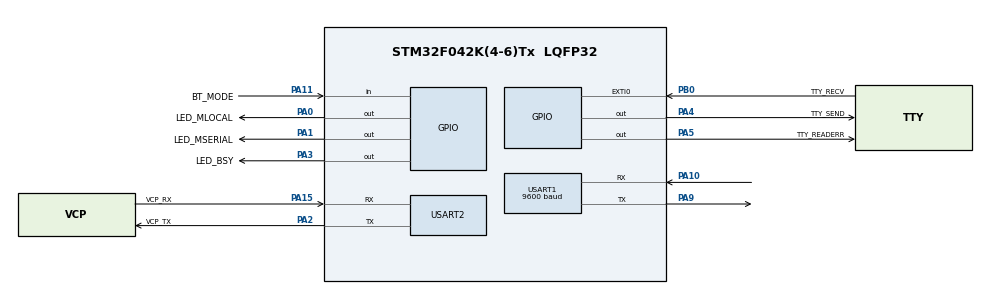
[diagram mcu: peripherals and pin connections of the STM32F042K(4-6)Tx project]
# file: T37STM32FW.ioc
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Mcu.Family=STM32F0
Mcu.Name=STM32F042K(4-6)Tx
Mcu.Package=LQFP32
NVIC.EXTI0_1_IRQn=true\:0\:0\:false\:false\:true\:true\:true\:true
NVIC.USART2_IRQn=true\:0\:0\:false\:false\:true\:true\:true\:true
PA0.GPIO_Label=LED_MLOCAL
PA0.Signal=GPIO_Output
PA1.GPIO_Label=LED_MSERIAL
PA1.Signal=GPIO_Output
PA10.Mode=Asynchronous
PA10.Signal=USART1_RX
PA11.GPIO_Label=BT_MODE
PA11.Signal=GPIO_Input
PA13.GPIO_Label=SWDIO
PA13.Mode=Serial_Wire
PA13.Signal=SYS_SWDIO
PA14.GPIO_Label=SWCLK
PA14.Mode=Serial_Wire
PA14.Signal=SYS_SWCLK
PA15.GPIO_Label=VCP_RX
PA15.Mode=Asynchronous
PA15.Signal=USART2_RX
PA2.GPIO_Label=VCP_TX
PA2.Mode=Asynchronous
PA2.Signal=USART2_TX
PA3.GPIO_Label=LED_BSY
PA3.Signal=GPIO_Output
PA4.GPIO_Label=TTY_SEND
PA4.GPIO_ModeDefaultOutputPP=GPIO_MODE_OUTPUT_PP
PA4.GPIO_PuPd=GPIO_NOPULL
PA4.GPIO_Speed=GPIO_SPEED_FREQ_HIGH
PA4.PinState=GPIO_PIN_RESET
PA4.Signal=GPIO_Output
PA5.GPIO_Label=TTY_READERR
PA5.Signal=GPIO_Output
PA9.Mode=Asynchronous
PA9.Signal=USART1_TX
PB0.GPIO_Label=TTY_RECV
PB0.GPIO_ModeDefaultEXTI=GPIO_MODE_IT_FALLING
PB0.GPIO_PuPd=GPIO_PULLUP
PB0.Signal=GPXTI0
PF0-OSC_IN.GPIO_Label=MCO
PF0-OSC_IN.Mode=HSE-External-Clock-Source
PF0-OSC_IN.Signal=RCC_OSC_IN
ProjectManager.HeapSize=0x200
ProjectManager.StackSize=0x400
ProjectManager.TargetToolchain=STM32CubeIDE
USART1.BaudRate=9600
USART1.Parity=PARITY_EVEN
USART1.VirtualMode-Asynchronous=VM_ASYNC
USART2.VirtualMode-Asynchronous=VM_ASYNC
board=NUCLEO-F042K6

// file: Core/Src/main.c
/* USER CODE BEGIN Header */
/**
  ******************************************************************************
  * @file           : main.c
  * @brief          : Main program body
  ******************************************************************************
  * @attention
  *
  * Copyright (c) 2025 STMicroelectronics.
  * All rights reserved.
  *
  * This software is licensed under terms that can be found in the LICENSE file
  * in the root directory of this software component.
  * If no LICENSE file comes with this software, it is provided AS-IS.
  *
  ******************************************************************************
  */
/* USER CODE END Header */
#include "main.h"

/* USER CODE BEGIN Includes */
#include "tty.h"
#include "writeBuffer.h"
#include "string.h"
#include <stdio.h>
#include <stdlib.h>

#include "symbolbuffer.h"	// TODO: Remove THIS, all comms through tty.c
/* USER CODE END Includes */

UART_HandleTypeDef huart1;
UART_HandleTypeDef huart2;

/* USER CODE BEGIN PV */
unsigned char UART2_Buffer[1];
HAL_StatusTypeDef lastStatus;
unsigned char rdyMSG[] = "rdy";
/* USER CODE END PV */

void SystemClock_Config(void);
static void MX_GPIO_Init(void);
static void MX_USART2_UART_Init(void);
static void MX_USART1_UART_Init(void);

/* USER CODE BEGIN 0 */
// ---I/O SECTION---------------------------------------------------
void setLED_MLOCAL(int state){	// LED @ A0
	if (state != 0) {
		HAL_GPIO_WritePin(GPIOA, GPIO_PIN_0, GPIO_PIN_SET);
	}
	else {
		HAL_GPIO_WritePin(GPIOA, GPIO_PIN_0, GPIO_PIN_RESET);
	}
}

void setLED_MSERIAL(int state){ // LED @ A1
	if (state != 0) {
		HAL_GPIO_WritePin(GPIOA, GPIO_PIN_1, GPIO_PIN_SET);
	}
	else {
		HAL_GPIO_WritePin(GPIOA, GPIO_PIN_1, GPIO_PIN_RESET);
	}
}

void setLED_BSY(int state){		// LED @ A2
	if (state != 0) {
		HAL_GPIO_WritePin(GPIOA, GPIO_PIN_3, GPIO_PIN_SET);
	}
	else {
		HAL_GPIO_WritePin(GPIOA, GPIO_PIN_3, GPIO_PIN_RESET);
	}
}
/* USER CODE END 0 */

int main(void)
{

  /* MCU Configuration--------------------------------------------------------*/

  /* Reset of all peripherals, Initializes the Flash interface and the Systick. */
  HAL_Init();

  /* Configure the system clock */
  SystemClock_Config();

  /* Initialize all configured peripherals */
  MX_GPIO_Init();
  MX_USART2_UART_Init();
  MX_USART1_UART_Init();
  /* USER CODE BEGIN 2 */
  HAL_UART_Receive_IT(&huart2, UART2_Buffer, 1);
  TTY_Init();
  HAL_UART_Transmit(&huart2, rdyMSG, 3, 20);
  setLoopback(1);
  /* USER CODE END 2 */

  /* Infinite loop */
  while (1)
  {

    /* USER CODE BEGIN 3 */
	if (lastStatus != HAL_TIMEOUT){
		if (UART2_Buffer[0] != '\0'){
			TTY_WriteKey(UART2_Buffer[0]);
			UART2_Buffer[0] = '\0';
		}
	}
	HAL_Delay(1);

	//char* test_string = "===ABCDEFGHIJKLMNOPQRSTUVWXYZ\r\n"
	//		"()+,-./0123456789=A1B2C3D4E5F6:===";
  }
  /* USER CODE END 3 */
}

void SystemClock_Config(void)
{
  RCC_OscInitTypeDef RCC_OscInitStruct = {0};
  RCC_ClkInitTypeDef RCC_ClkInitStruct = {0};
  RCC_PeriphCLKInitTypeDef PeriphClkInit = {0};

  /** Initializes the RCC Oscillators according to the specified parameters
  * in the RCC_OscInitTypeDef structure.
  */
  RCC_OscInitStruct.OscillatorType = RCC_OSCILLATORTYPE_HSI;
  RCC_OscInitStruct.HSIState = RCC_HSI_ON;
  RCC_OscInitStruct.HSICalibrationValue = RCC_HSICALIBRATION_DEFAULT;
  RCC_OscInitStruct.PLL.PLLState = RCC_PLL_NONE;
  if (HAL_RCC_OscConfig(&RCC_OscInitStruct) != HAL_OK)
  {
    Error_Handler();
  }

  /** Initializes the CPU, AHB and APB buses clocks
  */
  RCC_ClkInitStruct.ClockType = RCC_CLOCKTYPE_HCLK|RCC_CLOCKTYPE_SYSCLK
                              |RCC_CLOCKTYPE_PCLK1;
  RCC_ClkInitStruct.SYSCLKSource = RCC_SYSCLKSOURCE_HSI;
  RCC_ClkInitStruct.AHBCLKDivider = RCC_SYSCLK_DIV1;
  RCC_ClkInitStruct.APB1CLKDivider = RCC_HCLK_DIV1;

  if (HAL_RCC_ClockConfig(&RCC_ClkInitStruct, FLASH_LATENCY_0) != HAL_OK)
  {
    Error_Handler();
  }
  PeriphClkInit.PeriphClockSelection = RCC_PERIPHCLK_USART1;
  PeriphClkInit.Usart1ClockSelection = RCC_USART1CLKSOURCE_PCLK1;
  if (HAL_RCCEx_PeriphCLKConfig(&PeriphClkInit) != HAL_OK)
  {
    Error_Handler();
  }
}

static void MX_USART1_UART_Init(void)
{

  huart1.Instance = USART1;
  huart1.Init.BaudRate = 9600;
  huart1.Init.WordLength = UART_WORDLENGTH_8B;
  huart1.Init.StopBits = UART_STOPBITS_1;
  huart1.Init.Parity = UART_PARITY_EVEN;
  huart1.Init.Mode = UART_MODE_TX_RX;
  huart1.Init.HwFlowCtl = UART_HWCONTROL_NONE;
  huart1.Init.OverSampling = UART_OVERSAMPLING_16;
  huart1.Init.OneBitSampling = UART_ONE_BIT_SAMPLE_DISABLE;
  huart1.AdvancedInit.AdvFeatureInit = UART_ADVFEATURE_NO_INIT;
  if (HAL_UART_Init(&huart1) != HAL_OK)
  {
    Error_Handler();
  }

}

static void MX_USART2_UART_Init(void)
{

  huart2.Instance = USART2;
  huart2.Init.BaudRate = 38400;
  huart2.Init.WordLength = UART_WORDLENGTH_8B;
  huart2.Init.StopBits = UART_STOPBITS_1;
  huart2.Init.Parity = UART_PARITY_NONE;
  huart2.Init.Mode = UART_MODE_TX_RX;
  huart2.Init.HwFlowCtl = UART_HWCONTROL_NONE;
  huart2.Init.OverSampling = UART_OVERSAMPLING_16;
  huart2.Init.OneBitSampling = UART_ONE_BIT_SAMPLE_DISABLE;
  huart2.AdvancedInit.AdvFeatureInit = UART_ADVFEATURE_NO_INIT;
  if (HAL_UART_Init(&huart2) != HAL_OK)
  {
    Error_Handler();
  }

}

static void MX_GPIO_Init(void)
{
  GPIO_InitTypeDef GPIO_InitStruct = {0};

  /* GPIO Ports Clock Enable */
  __HAL_RCC_GPIOF_CLK_ENABLE();
  __HAL_RCC_GPIOA_CLK_ENABLE();
  __HAL_RCC_GPIOB_CLK_ENABLE();

  /*Configure GPIO pin Output Level */
  HAL_GPIO_WritePin(GPIOA, LED_MLOCAL_Pin|LED_MSERIAL_Pin|LED_BSY_Pin|TTY_SEND_Pin
                          |TTY_READERR_Pin, GPIO_PIN_RESET);

  /*Configure GPIO pins : LED_MLOCAL_Pin LED_MSERIAL_Pin LED_BSY_Pin TTY_READERR_Pin */
  GPIO_InitStruct.Pin = LED_MLOCAL_Pin|LED_MSERIAL_Pin|LED_BSY_Pin|TTY_READERR_Pin;
  GPIO_InitStruct.Mode = GPIO_MODE_OUTPUT_PP;
  GPIO_InitStruct.Pull = GPIO_NOPULL;
  GPIO_InitStruct.Speed = GPIO_SPEED_FREQ_LOW;
  HAL_GPIO_Init(GPIOA, &GPIO_InitStruct);

  /*Configure GPIO pin : TTY_SEND_Pin */
  GPIO_InitStruct.Pin = TTY_SEND_Pin;
  GPIO_InitStruct.Mode = GPIO_MODE_OUTPUT_PP;
  GPIO_InitStruct.Pull = GPIO_NOPULL;
  GPIO_InitStruct.Speed = GPIO_SPEED_FREQ_HIGH;
  HAL_GPIO_Init(TTY_SEND_GPIO_Port, &GPIO_InitStruct);

  /*Configure GPIO pin : TTY_RECV_Pin */
  GPIO_InitStruct.Pin = TTY_RECV_Pin;
  GPIO_InitStruct.Mode = GPIO_MODE_IT_FALLING;
  GPIO_InitStruct.Pull = GPIO_PULLUP;
  HAL_GPIO_Init(TTY_RECV_GPIO_Port, &GPIO_InitStruct);

  /*Configure GPIO pin : BT_MODE_Pin */
  GPIO_InitStruct.Pin = BT_MODE_Pin;
  GPIO_InitStruct.Mode = GPIO_MODE_INPUT;
  GPIO_InitStruct.Pull = GPIO_NOPULL;
  HAL_GPIO_Init(BT_MODE_GPIO_Port, &GPIO_InitStruct);

  /* EXTI interrupt init*/
  HAL_NVIC_SetPriority(EXTI0_1_IRQn, 0, 0);
  HAL_NVIC_EnableIRQ(EXTI0_1_IRQn);

}

/* USER CODE BEGIN 4 */
char* buffer_to_hexstr(char* buffer) {
    // Jedes Byte: "0x" + 2 Hexziffern + " " = 5 Zeichen, letzter ohne Space + '\0'

	uint32_t len = 10;

    static char out[5];
    uint32_t pos = 0;
    for (uint32_t i = 0; i < len; ++i) {
        out[pos++] = '0';
        out[pos++] = 'x';
        char val = (char)buffer[i];
        out[pos++] = "0123456789abcdef"[val >> 4];
        out[pos++] = "0123456789abcdef"[val & 0xF];
        if (i < len - 1) {
            out[pos++] = ' ';
        }
    }
    out[pos] = '\0';
    return out;
}

void HAL_UART_RxCpltCallback(UART_HandleTypeDef *huart) {
	lastStatus = HAL_UART_Receive_IT(&huart2, UART2_Buffer, 1);
}

/* USER CODE END 4 */

void Error_Handler(void)
{
    __disable_irq();
    while (1)
    {
    }
}

#ifdef  USE_FULL_ASSERT
/**
  * @brief  Reports the name of the source file and the source line number
  *         where the assert_param error has occurred.
  * @param  file: pointer to the source file name
  * @param  line: assert_param error line source number
  * @retval None
  */
void assert_failed(uint8_t *file, uint32_t line)
{
  /* USER CODE BEGIN 6 */
    /* User can add his own implementation to report the file name and line number,
     * printf("Wrong parameters value: file %s on line %d\r\n", file, line); */
  /* USER CODE END 6 */
}
#endif /* USE_FULL_ASSERT */
